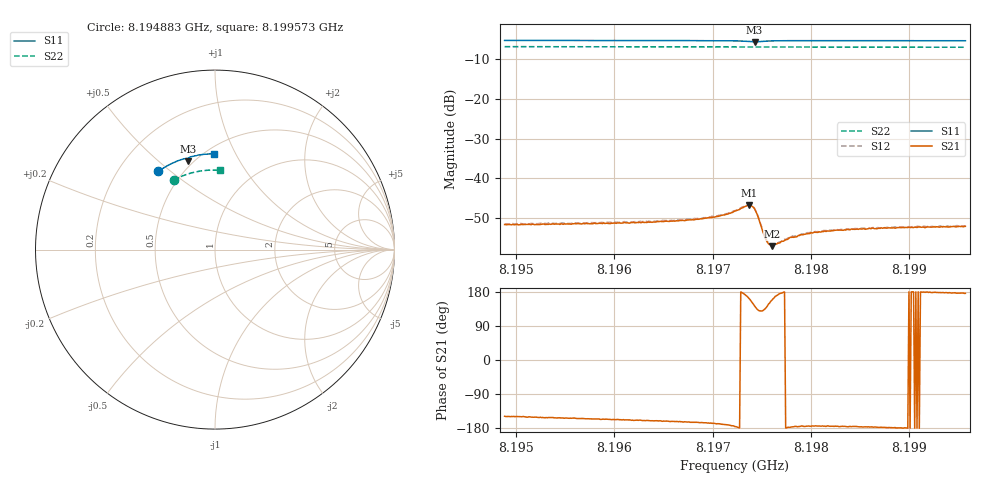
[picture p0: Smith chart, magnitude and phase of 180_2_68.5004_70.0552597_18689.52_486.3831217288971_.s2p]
#  HZ  S  RI  R  50.00
! Rohde & Schwarz Vector Network Analyzer
! Rohde-Schwarz,ZNB20-2Port,1311601062101988,3.16
! Created: UTC 3/20/2024, 5:11:48 PM
! freq[Hz]  re:S11  im:S11  re:S21  im:S21  re:S12  im:S12  re:S22  im:S22
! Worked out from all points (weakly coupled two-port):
!   401 points, 8.194883 GHz to 8.199573 GHz, reference 50 ohm
!   highest |S21| = -46.80 dB at 8.197368 GHz (marker M1); lowest = -57.0 dB at 8.197603 GHz (marker M2)
!   lowest |S11| = -5.7 dB at 8.197427 GHz (marker M3), VSWR 3.14, Z = 23.4 + j31.5 ohm
!   |S11| at or under -10 dB: nowhere
!   |S22| runs from -7.1 to -6.9 dB; largest |S21 - S12| = 0.00021
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8.1948826e9  -0.3154 0.4357  -0.00224 -0.00138  -0.00233 -0.00129  -0.2293 0.387
8.1956682e9  -0.2684 0.4654  -0.00241 -0.00116  -0.00254 -0.00109  -0.1898 0.4065
8.1964539e9  -0.2181 0.4902  -0.0027 -0.000939  -0.00277 -0.000856  -0.1483 0.4221
8.196876e9  -0.1888 0.5012  -0.003 -0.000799  -0.00309 -0.000686  -0.1255 0.4286
8.1970753e9  -0.1738 0.5056  -0.00332 -0.000678  -0.00338 -0.000541  -0.1146 0.4313
8.1972278e9  -0.1606 0.5073  -0.00387 -0.000286  -0.00393 -0.000156  -0.106 0.4333
8.1973216e9  -0.1508 0.5048  -0.00436 0.000451  -0.0044 0.000613  -0.1009 0.4342
8.1973685e9  -0.1474 0.5005  -0.00437 0.00133  -0.0044 0.00152  -0.0983 0.4345
8.1974037e9  -0.1477 0.4962  -0.00389 0.00215  -0.00391 0.00236  -0.0964 0.4348
8.1974271e9  -0.1499 0.4942  -0.00328 0.00252  -0.00324 0.00266  -0.0952 0.4351
8.1974623e9  -0.1542 0.4952  -0.00221 0.00245  -0.00216 0.00258  -0.0934 0.4354
8.1975209e9  -0.1557 0.5022  -0.00133 0.00146  -0.00129 0.00158  -0.0904 0.4362
8.1975444e9  -0.1547 0.5048  -0.00126 0.00113  -0.00123 0.0012  -0.0891 0.4364
8.1975561e9  -0.154 0.5058  -0.00125 0.000975  -0.00127 0.00103  -0.0884 0.4365
8.1975796e9  -0.1522 0.5078  -0.00128 0.000732  -0.00128 0.000802  -0.0871 0.4369
8.197603e9  -0.1504 0.5095  -0.0013 0.000533  -0.00134 0.000597  -0.0858 0.4371
8.1976382e9  -0.1475 0.5116  -0.00148 0.000312  -0.00145 0.000363  -0.0838 0.4374
8.1977906e9  -0.1351 0.517  -0.00182 -7.46e-05  -0.0018 3.27e-06  -0.0752 0.4386
8.1980134e9  -0.1183 0.5216  -0.00204 -0.000221  -0.0021 -0.000116  -0.0626 0.4403
8.1982597e9  -0.1005 0.5254  -0.00223 -0.000196  -0.00228 -9.78e-05  -0.0488 0.4417
8.1987991e9  -0.0619 0.5308  -0.00239 -7.74e-05  -0.00242 2.55e-05  -0.0182 0.4429
8.199573e9  -0.00688 0.5335  -0.00249 0.000178  -0.00252 0.000287  0.0258 0.4412
